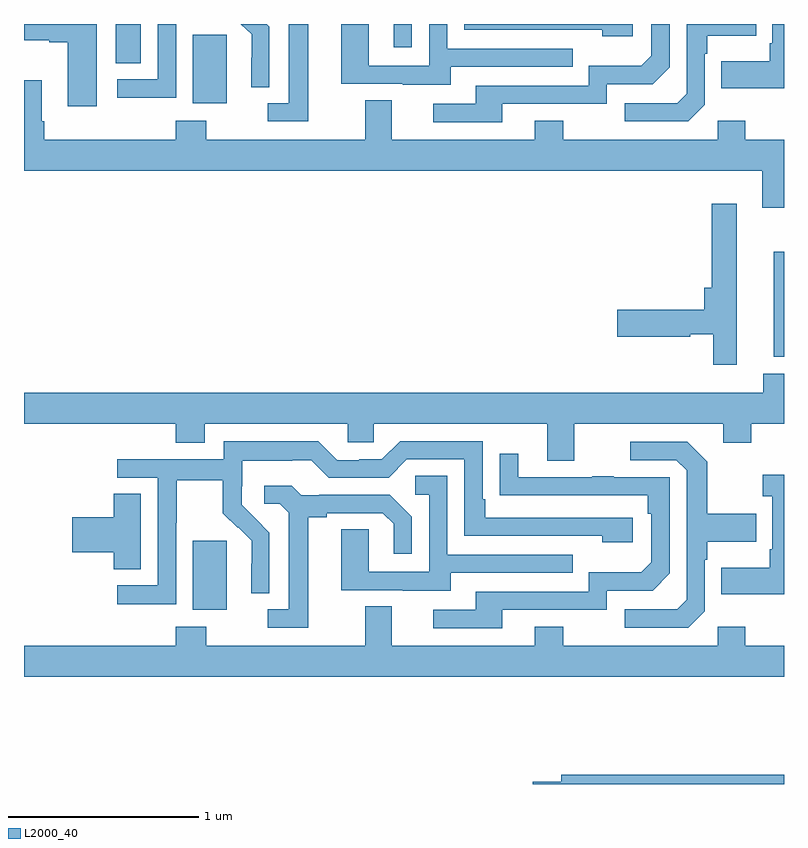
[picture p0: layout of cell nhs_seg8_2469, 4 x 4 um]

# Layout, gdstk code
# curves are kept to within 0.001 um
import gdstk
lib = gdstk.Library(unit=1e-6, precision=1e-09)
def R(c, l, rs):  # rectangles x0, y0, x1, y1
    for r in rs: c.add(gdstk.rectangle(r[:2], r[2:], *l))
def P(c, l, *ps):  # polygons
    for p in ps: c.add(gdstk.Polygon(p, *l))
L2000_40 = (2000, 40)

nhs_seg8_2469 = lib.new_cell('nhs_seg8_2469')
R(nhs_seg8_2469, L2000_40, [(265.889,1152.818,266.068,1153.179), (268.946,1154.148,269,1154.701), (265.889,1155.482,266.068,1155.843), (265.484,1155.694,265.615,1155.9), (266.945,1155.777,267.042,1155.9)])
P(nhs_seg8_2469, L2000_40, [(269,1155.9),(268.938,1155.9),(268.938,1155.799),(268.926,1155.799),(268.926,1155.703),(268.669,1155.703),(268.669,1155.563),(269,1155.563)],
  [(265.8,1155.9),(265.704,1155.9),(265.704,1155.609),(265.491,1155.609),(265.491,1155.511),(265.8,1155.511)],
  [(266.497,1155.9),(266.393,1155.9),(266.393,1155.483),(266.283,1155.483),(266.283,1155.387),(266.497,1155.387)],
  [(267.517,1155.48),(268.068,1155.48),(268.068,1155.582),(268.308,1155.582),(268.398,1155.672),(268.398,1155.9),(268.302,1155.9),(268.302,1155.732),(268.249,1155.679),(267.972,1155.679),(267.972,1155.576),(267.377,1155.576),(267.377,1155.48),(267.153,1155.48),(267.153,1155.384),(267.517,1155.384)],
  [(265.384,1155.9),(265,1155.9),(265,1155.815),(265.133,1155.815),(265.133,1155.803),(265.229,1155.803),(265.229,1155.468),(265.384,1155.468)],
  [(266.292,1155.886),(266.278,1155.9),(266.142,1155.9),(266.198,1155.845),(266.198,1155.722),(266.196,1155.722),(266.196,1155.568),(266.292,1155.568)],
  [(268.204,1155.9),(267.318,1155.9),(267.318,1155.87),(268.043,1155.87),(268.043,1155.836),(268.204,1155.836)],
  [(267.247,1155.675),(267.887,1155.675),(267.887,1155.771),(267.228,1155.771),(267.228,1155.9),(267.132,1155.9),(267.132,1155.681),(266.814,1155.681),(266.814,1155.9),(266.669,1155.9),(266.669,1155.585),(266.993,1155.585),(266.993,1155.581),(267.247,1155.581)],
  [(268.584,1155.474),(268.584,1155.743),(268.597,1155.743),(268.597,1155.839),(268.853,1155.839),(268.853,1155.9),(268.488,1155.9),(268.488,1155.534),(268.437,1155.483),(268.161,1155.483),(268.161,1155.387),(268.497,1155.387)],
  [(269,1155.292),(268.797,1155.292),(268.797,1155.391),(268.65,1155.391),(268.65,1155.292),(267.837,1155.292),(267.837,1155.391),(267.689,1155.391),(267.689,1155.292),(266.935,1155.292),(266.935,1155.5),(266.795,1155.5),(266.795,1155.292),(265.959,1155.292),(265.959,1155.391),(265.799,1155.391),(265.799,1155.292),(265.106,1155.292),(265.106,1155.388),(265.093,1155.388),(265.093,1155.604),(265,1155.604),(265,1155.128),(268.886,1155.128),(268.886,1154.934),(269,1154.934)],
  [(268.75,1154.953),(268.619,1154.953),(268.619,1154.512),(268.58,1154.512),(268.58,1154.396),(268.122,1154.396),(268.122,1154.254),(268.506,1154.254),(268.506,1154.266),(268.628,1154.266),(268.628,1154.106),(268.75,1154.106)],
  [(267.895,1153.796),(268.679,1153.796),(268.679,1153.697),(268.827,1153.697),(268.827,1153.796),(269,1153.796),(269,1154.059),(268.892,1154.059),(268.892,1153.96),(265,1153.96),(265,1153.796),(265.799,1153.796),(265.799,1153.697),(265.951,1153.697),(265.951,1153.796),(266.703,1153.796),(266.703,1153.698),(266.841,1153.698),(266.841,1153.796),(267.755,1153.796),(267.755,1153.602),(267.895,1153.602)],
  [(265.8,1153.276),(265.803,1153.276),(265.803,1153.5),(266.047,1153.5),(266.047,1153.325),(266.124,1153.248),(266.127,1153.251),(266.198,1153.181),(266.198,1153.058),(266.196,1153.058),(266.196,1152.904),(266.292,1152.904),(266.292,1153.222),(266.146,1153.37),(266.146,1153.467),(266.148,1153.467),(266.148,1153.601),(266.411,1153.601),(266.411,1153.605),(266.511,1153.605),(266.604,1153.512),(266.919,1153.512),(267.015,1153.608),(267.318,1153.608),(267.318,1153.206),(268.043,1153.206),(268.043,1153.172),(268.204,1153.172),(268.204,1153.302),(267.427,1153.302),(267.427,1153.399),(267.414,1153.399),(267.414,1153.704),(266.979,1153.704),(266.883,1153.608),(266.765,1153.608),(266.765,1153.605),(266.649,1153.605),(266.549,1153.705),(266.052,1153.705),(266.052,1153.608),(265.491,1153.608),(265.491,1153.512),(265.704,1153.512),(265.704,1152.945),(265.491,1152.945),(265.491,1152.847),(265.8,1152.847)],
  [(268.584,1152.81),(268.584,1153.079),(268.597,1153.079),(268.597,1153.175),(268.853,1153.175),(268.853,1153.323),(268.597,1153.323),(268.597,1153.595),(268.491,1153.701),(268.191,1153.701),(268.191,1153.605),(268.434,1153.605),(268.488,1153.551),(268.488,1152.87),(268.437,1152.819),(268.161,1152.819),(268.161,1152.723),(268.497,1152.723)],
  [(267.517,1152.816),(268.068,1152.816),(268.068,1152.918),(268.308,1152.918),(268.398,1153.008),(268.398,1153.515),(268.103,1153.515),(268.103,1153.52),(267.991,1153.52),(267.991,1153.515),(267.601,1153.515),(267.601,1153.639),(267.505,1153.639),(267.505,1153.42),(268.282,1153.419),(268.282,1153.322),(268.302,1153.322),(268.302,1153.068),(268.249,1153.015),(267.972,1153.015),(267.972,1152.912),(267.377,1152.912),(267.377,1152.816),(267.153,1152.816),(267.153,1152.72),(267.517,1152.72)],
  [(269,1153.528),(268.887,1153.528),(268.887,1153.415),(268.938,1153.415),(268.938,1153.135),(268.926,1153.135),(268.926,1153.039),(268.669,1153.039),(268.669,1152.899),(269,1152.899)],
  [(267.247,1153.011),(267.887,1153.011),(267.887,1153.107),(267.228,1153.107),(267.228,1153.523),(267.06,1153.523),(267.06,1153.422),(267.132,1153.422),(267.132,1153.017),(266.814,1153.017),(266.814,1153.241),(266.669,1153.241),(266.669,1152.921),(266.993,1152.921),(266.993,1152.917),(267.247,1152.917)],
  [(266.497,1153.304),(266.593,1153.304),(266.593,1153.326),(266.888,1153.326),(266.945,1153.269),(266.945,1153.113),(267.042,1153.113),(267.042,1153.306),(266.926,1153.422),(266.554,1153.422),(266.554,1153.419),(266.46,1153.419),(266.408,1153.471),(266.265,1153.471),(266.265,1153.374),(266.346,1153.374),(266.393,1153.327),(266.393,1152.819),(266.283,1152.819),(266.283,1152.723),(266.497,1152.723)],
  [(265.615,1153.427),(265.472,1153.427),(265.472,1153.304),(265.254,1153.304),(265.254,1153.121),(265.472,1153.121),(265.472,1153.03),(265.615,1153.03)],
  [(269,1152.628),(268.797,1152.628),(268.797,1152.727),(268.65,1152.727),(268.65,1152.628),(267.837,1152.628),(267.837,1152.727),(267.689,1152.727),(267.689,1152.628),(266.935,1152.628),(266.935,1152.836),(266.795,1152.836),(266.795,1152.628),(265.959,1152.628),(265.959,1152.727),(265.799,1152.727),(265.799,1152.628),(265,1152.628),(265,1152.464),(269,1152.464)],
  [(269,1151.948),(267.827,1151.948),(267.827,1151.912),(267.678,1151.912),(267.678,1151.9),(269,1151.9)])

lib.write_gds('nhs_seg8_2469.gds')
